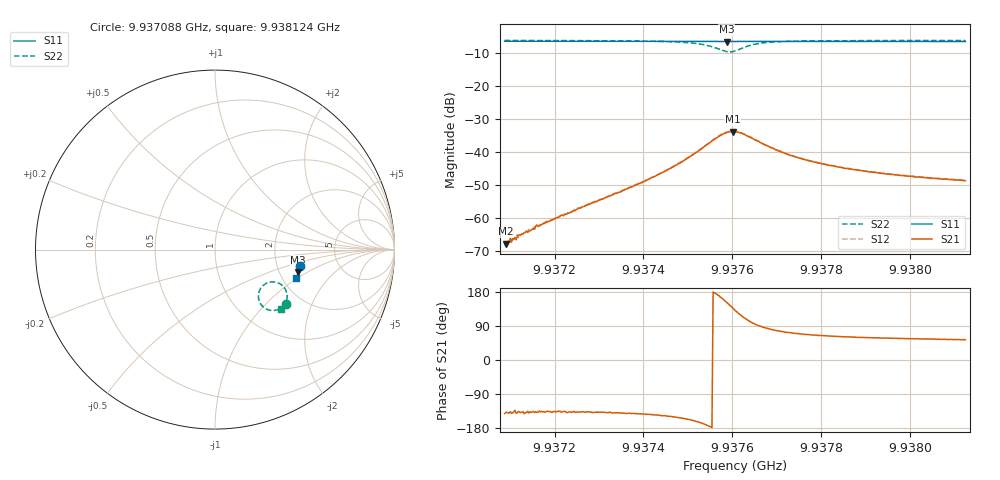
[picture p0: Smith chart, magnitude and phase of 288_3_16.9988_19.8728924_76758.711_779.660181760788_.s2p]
#  HZ  S  RI  R  50.00
! Rohde & Schwarz Vector Network Analyzer
! Rohde-Schwarz,ZNB20-2Port,1311601062101988,3.16
! Created: UTC 3/20/2024, 11:04:59 PM
! freq[Hz]  re:S11  im:S11  re:S21  im:S21  re:S12  im:S12  re:S22  im:S22
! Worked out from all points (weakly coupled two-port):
!   401 points, 9.937088 GHz to 9.938124 GHz, reference 50 ohm
!   highest |S21| = -33.76 dB at 9.937601 GHz (marker M1); lowest = -67.9 dB at 9.93709 GHz (marker M2)
!   lowest |S11| = -6.4 dB at 9.937588 GHz (marker M3), VSWR 2.84, Z = 127 - j41.3 ohm
!   |S11| at or under -10 dB: nowhere
!   |S22| runs from -9.5 to -6.1 dB; largest |S21 - S12| = 0.00091
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9.9370878e9  0.4753 -0.0933  -0.000327 -0.000262  -0.000273 -0.000297  0.3934 -0.3048
9.9370904e9  0.4752 -0.0936  -0.000305 -0.000266  -0.000288 -0.000234  0.3933 -0.3049
9.9371085e9  0.4747 -0.0948  -0.000351 -0.000319  -0.000342 -0.000318  0.3918 -0.3063
9.9371396e9  0.4743 -0.097  -0.000428 -0.000422  -0.000466 -0.00042  0.3894 -0.3085
9.9371629e9  0.4738 -0.0985  -0.000557 -0.000513  -0.000551 -0.000482  0.3878 -0.3105
9.9371888e9  0.4734 -0.1003  -0.000636 -0.000619  -0.000661 -0.00063  0.3856 -0.3124
9.9372614e9  0.4719 -0.1051  -0.00105 -0.000991  -0.00111 -0.000991  0.3786 -0.3183
9.9373469e9  0.4704 -0.1109  -0.00187 -0.0016  -0.00194 -0.00158  0.367 -0.3265
9.937435e9  0.4682 -0.1169  -0.00379 -0.00258  -0.00394 -0.00255  0.3461 -0.3358
9.9374868e9  0.4669 -0.1205  -0.00638 -0.0032  -0.00655 -0.00315  0.322 -0.3397
9.937536e9  0.4653 -0.1237  -0.0118 -0.0023  -0.012 -0.00215  0.2784 -0.3269
9.9375697e9  0.4637 -0.1254  -0.0171 0.00302  -0.0173 0.00376  0.2432 -0.2754
9.9375879e9  0.4631 -0.1256  -0.0174 0.00961  -0.0174 0.0102  0.2496 -0.2251
9.9376008e9  0.4631 -0.1261  -0.015 0.0139  -0.0149 0.0147  0.2754 -0.1944
9.937606e9  0.4631 -0.1262  -0.0133 0.0154  -0.0132 0.0161  0.2896 -0.1864
9.9376241e9  0.4634 -0.1271  -0.00754 0.0174  -0.00712 0.0176  0.3391 -0.1815
9.937663e9  0.4633 -0.1298  0.000198 0.014  0.000624 0.014  0.3924 -0.2226
9.93772e9  0.4626 -0.134  0.00277 0.00911  0.00297 0.0091  0.4018 -0.2669
9.9377796e9  0.4614 -0.1381  0.00292 0.00659  0.00306 0.00656  0.3968 -0.2897
9.9378548e9  0.4595 -0.1431  0.00271 0.00494  0.00285 0.00496  0.3894 -0.3057
9.9379532e9  0.457 -0.1498  0.00248 0.00388  0.00258 0.00389  0.3808 -0.3186
9.9381242e9  0.4524 -0.1607  0.00219 0.00296  0.00226 0.00299  0.3683 -0.3332
